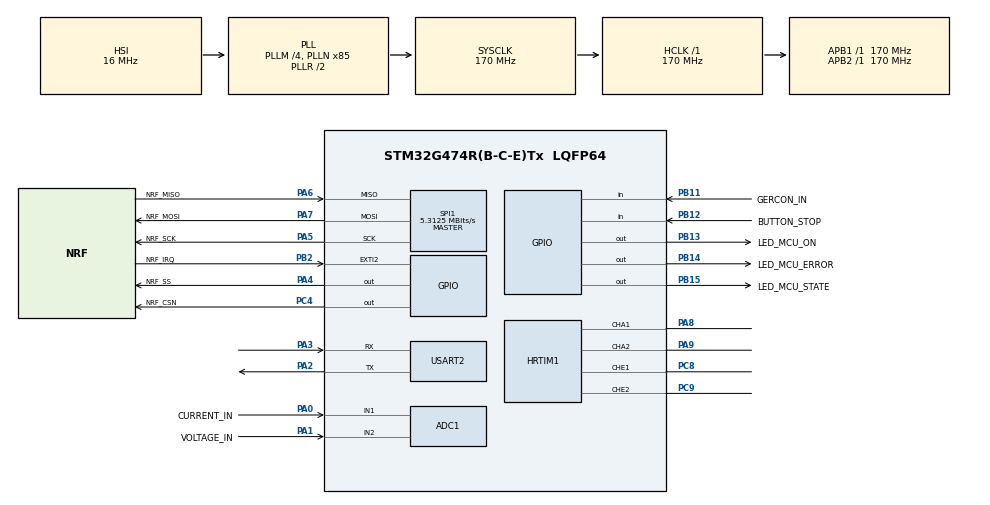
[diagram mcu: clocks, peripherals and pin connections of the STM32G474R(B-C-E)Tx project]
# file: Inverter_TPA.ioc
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ADC1.EnableInjectedConversion=ENABLE
ADC1.EnableRegularConversion=DISABLE
ADC1.InjNumberOfConversion=2
ADC1.InjectedChannel-1\#ChannelInjectedConversion=ADC_CHANNEL_1
ADC1.InjectedChannel-2\#ChannelInjectedConversion=ADC_CHANNEL_2
ADC1.InjectedOffsetNumber-1\#ChannelInjectedConversion=ADC_OFFSET_NONE
ADC1.InjectedOffsetNumber-2\#ChannelInjectedConversion=ADC_OFFSET_NONE
ADC1.InjectedRank-1\#ChannelInjectedConversion=1
ADC1.InjectedRank-2\#ChannelInjectedConversion=2
ADC1.InjectedSamplingTime-1\#ChannelInjectedConversion=ADC_SAMPLETIME_640CYCLES_5
ADC1.InjectedSamplingTime-2\#ChannelInjectedConversion=ADC_SAMPLETIME_640CYCLES_5
ADC1.Rank2_Channel=ADC_CHANNEL_2
ADC1.master=1
HRTIM1.CompareUnit1-MasterTimer=HRTIM_COMPAREUNIT_1
HRTIM1.CompareUnit1-Output_TA1TA2=HRTIM_COMPAREUNIT_1
HRTIM1.CompareUnit1-Output_TE1TE2=HRTIM_COMPAREUNIT_1
HRTIM1.CompareUnit2-MasterTimer=HRTIM_COMPAREUNIT_2
HRTIM1.CompareValue1-MasterTimer=0x0080
HRTIM1.CompareValue2-MasterTimer=0x3E80
HRTIM1.Configuration_TE=Waveform
HRTIM1.DeadTimeInsertion-Output_TA1TA2=HRTIM_TIMDEADTIMEINSERTION_ENABLED
HRTIM1.DeadTimeInsertion-Output_TE1TE2=HRTIM_TIMDEADTIMEINSERTION_ENABLED
HRTIM1.FallingSign-Output_TE1TE2=HRTIM_TIMDEADTIME_FALLINGSIGN_NEGATIVE
HRTIM1.FallingValue-Output_TA1TA2=0x04f
HRTIM1.FallingValue-Output_TE1TE2=0x04f
HRTIM1.InterleavedMode-Output_TA1TA2=HRTIM_INTERLEAVED_MODE_DISABLED
HRTIM1.InterleavedMode-Output_TE1TE2=HRTIM_INTERLEAVED_MODE_DISABLED
HRTIM1.ModeTimeBase-Output_TA1TA2=HRTIM_MODE_SINGLESHOT_RETRIGGERABLE
HRTIM1.ModeTimeBase-Output_TE1TE2=HRTIM_MODE_SINGLESHOT_RETRIGGERABLE
HRTIM1.NumberResetSource1-Output_TA1TA2=1
HRTIM1.NumberResetSource1-Output_TE1TE2=1
HRTIM1.NumberResetSource2_TE=0
HRTIM1.NumberResetTrigger-Output_TA1TA2=1
HRTIM1.NumberResetTrigger-Output_TE1TE2=1
HRTIM1.NumberSetSource1-Output_TA1TA2=1
HRTIM1.NumberSetSource1-Output_TE1TE2=1
HRTIM1.NumberSetSource2_TA=0
HRTIM1.NumberSetSource2_TE=0
HRTIM1.NumberUpdateTrigger-Output_TA1TA2=1
HRTIM1.NumberUpdateTrigger-Output_TE1TE2=1
HRTIM1.Periode_MASTER=0x675F
HRTIM1.Periode_TA=0x675F
HRTIM1.Periode_TE=0x7CFF
HRTIM1.Polarity1-Output_TE1TE2=HRTIM_OUTPUTPOLARITY_LOW
HRTIM1.Polarity2-Output_TE1TE2=HRTIM_OUTPUTPOLARITY_LOW
HRTIM1.PrescalerDead-Output_TA1TA2=HRTIM_TIMDEADTIME_PRESCALERRATIO_DIV1
HRTIM1.PrescalerDead-Output_TE1TE2=HRTIM_TIMDEADTIME_PRESCALERRATIO_DIV1
HRTIM1.PrescalerRatio_MASTER=HRTIM_PRESCALERRATIO_MUL16
HRTIM1.PrescalerRatio_TA=HRTIM_PRESCALERRATIO_MUL16
HRTIM1.PrescalerRatio_TE=HRTIM_PRESCALERRATIO_MUL16
HRTIM1.ResetOutput1_Source1-Output_TA1TA2=HRTIM_OUTPUTRESET_TIMCMP1
HRTIM1.ResetOutput1_Source1-Output_TE1TE2=HRTIM_OUTPUTRESET_TIMCMP1
HRTIM1.ResetTrigger1-Output_TA1TA2=HRTIM_TIMRESETTRIGGER_MASTER_CMP1
HRTIM1.ResetTrigger1-Output_TE1TE2=HRTIM_TIMRESETTRIGGER_MASTER_CMP2
HRTIM1.ResetUpdate-Output_TA1TA2=HRTIM_TIMUPDATEONRESET_DISABLED
HRTIM1.ResetUpdate-Output_TE1TE2=HRTIM_TIMUPDATEONRESET_DISABLED
HRTIM1.RisingSign-Output_TE1TE2=HRTIM_TIMDEADTIME_RISINGSIGN_NEGATIVE
HRTIM1.RisingValue-Output_TA1TA2=0x04f
HRTIM1.RisingValue-Output_TE1TE2=0x04f
HRTIM1.SetOutput1_Source1-Output_TA1TA2=HRTIM_OUTPUTSET_TIMPER
HRTIM1.SetOutput1_Source1-Output_TE1TE2=HRTIM_OUTPUTSET_TIMPER
HRTIM1.UpdateTrigger1-Output_TA1TA2=HRTIM_TIMUPDATETRIGGER_MASTER
HRTIM1.UpdateTrigger1-Output_TE1TE2=HRTIM_TIMUPDATETRIGGER_MASTER
Mcu.Family=STM32G4
Mcu.Name=STM32G474R(B-C-E)Tx
Mcu.Package=LQFP64
NUCLEO-G474RE.VCP=false
NVIC.EXTI2_IRQn=true\:1\:0\:true\:false\:true\:true\:true\:true
NVIC.PriorityGroup=NVIC_PRIORITYGROUP_4
PA0.GPIO_Label=CURRENT_IN
PA0.Mode=IN1-Single-Ended
PA0.Signal=ADC1_IN1
PA1.GPIO_Label=VOLTAGE_IN
PA1.Mode=IN2-Single-Ended
PA1.Signal=ADC1_IN2
PA13.GPIO_Label=T_SWDIO
PA13.Mode=Serial_Wire
PA13.Signal=SYS_JTMS-SWDIO
PA14.GPIO_Label=T_SWCLK
PA14.Mode=Serial_Wire
PA14.Signal=SYS_JTCK-SWCLK
PA2.Mode=Asynchronous
PA2.Signal=USART2_TX
PA3.Mode=Asynchronous
PA3.Signal=USART2_RX
PA4.GPIO_Label=NRF_SS
PA4.GPIO_PuPd=GPIO_NOPULL
PA4.Signal=GPIO_Output
PA5.GPIO_Label=NRF_SCK
PA5.Mode=Full_Duplex_Master
PA5.Signal=SPI1_SCK
PA6.GPIO_Label=NRF_MISO
PA6.Mode=Full_Duplex_Master
PA6.Signal=SPI1_MISO
PA7.GPIO_Label=NRF_MOSI
PA7.Mode=Full_Duplex_Master
PA7.Signal=SPI1_MOSI
PA8.Mode=Output_TA1TA2
PA8.Signal=HRTIM1_CHA1
PA9.Mode=Output_TA1TA2
PA9.Signal=HRTIM1_CHA2
PB11.GPIO_Label=GERCON_IN
PB11.GPIO_PuPd=GPIO_PULLUP
PB11.Signal=GPIO_Input
PB12.GPIO_Label=BUTTON_STOP
PB12.GPIO_PuPd=GPIO_PULLUP
PB12.Signal=GPIO_Input
PB13.GPIO_Label=LED_MCU_ON
PB13.Signal=GPIO_Output
PB14.GPIO_Label=LED_MCU_ERROR
PB14.Signal=GPIO_Output
PB15.GPIO_Label=LED_MCU_STATE
PB15.Signal=GPIO_Output
PB2.GPIO_Label=NRF_IRQ
PB2.GPIO_ModeDefaultEXTI=GPIO_MODE_IT_FALLING
PB2.Signal=GPXTI2
PB3.GPIO_Label=T_SWO
PB3.Signal=SYS_JTDO-SWO
PC14-OSC32_IN.GPIO_Label=RCC_OSC32_IN
PC14-OSC32_IN.Signal=RCC_OSC32_IN
PC15-OSC32_OUT.GPIO_Label=RCC_OSC32_OUT
PC15-OSC32_OUT.Signal=RCC_OSC32_OUT
PC4.GPIO_Label=NRF_CSN
PC4.GPIO_PuPd=GPIO_NOPULL
PC4.Signal=GPIO_Output
PC8.Mode=Output_TE1TE2
PC8.Signal=HRTIM1_CHE1
PC9.Mode=Output_TE1TE2
PC9.Signal=HRTIM1_CHE2
PF0-OSC_IN.GPIO_Label=RCC_OSC_IN
PF0-OSC_IN.Mode=HSE-External-Oscillator
PF0-OSC_IN.Signal=RCC_OSC_IN
PF1-OSC_OUT.GPIO_Label=RCC_OSC_OUT
PF1-OSC_OUT.Mode=HSE-External-Oscillator
PF1-OSC_OUT.Signal=RCC_OSC_OUT
ProjectManager.HeapSize=0x200
ProjectManager.StackSize=0x400
ProjectManager.TargetToolchain=STM32CubeIDE
RCC.ADC12Freq_Value=170000000
RCC.ADC345Freq_Value=170000000
RCC.AHBFreq_Value=170000000
RCC.APB1Freq_Value=170000000
RCC.APB1TimCLKDivider=1
RCC.APB1TimFreq_Value=170000000
RCC.APB2Freq_Value=170000000
RCC.APB2TimFreq_Value=170000000
RCC.CortexFreq_Value=170000000
RCC.EXTERNAL_CLOCK_VALUE=12288000
RCC.HCLKFreq_Value=170000000
RCC.HSE_VALUE=24000000
RCC.HSI48_VALUE=48000000
RCC.HSI_VALUE=16000000
RCC.LSE_VALUE=32768
RCC.PLLM=RCC_PLLM_DIV4
RCC.PLLN=85
RCC.RTCClockSelection=RCC_RTCCLKSOURCE_LSE
RCC.SYSCLKFreq_VALUE=170000000
RCC.SYSCLKSource=RCC_SYSCLKSOURCE_PLLCLK
RCC.USBFreq_Value=170000000
RCC.VCOOutputFreq_Value=340000000
SPI1.BaudRatePrescaler=SPI_BAUDRATEPRESCALER_32
SPI1.CalculateBaudRate=5.3125 MBits/s
SPI1.DataSize=SPI_DATASIZE_8BIT
SPI1.Direction=SPI_DIRECTION_2LINES
SPI1.FirstBit=SPI_FIRSTBIT_MSB
SPI1.Mode=SPI_MODE_MASTER
SPI1.VirtualType=VM_MASTER
USART2.VirtualMode-Asynchronous=VM_ASYNC
VP_HRTIM1_VS_hrtimMasterTimerNoOutput.Mode=MasterTimer
VP_NUCLEO-G474RE_VS_BSP_COMMON.Mode=COMMON
VP_SYS_VS_DBSignals.Mode=DisableDeadBatterySignals
board=NUCLEO-G474RE

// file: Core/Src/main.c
/* USER CODE BEGIN Header */
/**
 ******************************************************************************
 * @file           : main.c
 * @brief          : Main program body
 ******************************************************************************
 * @attention
 *
 * Copyright (c) 2025 STMicroelectronics.
 * All rights reserved.
 *
 * This software is licensed under terms that can be found in the LICENSE file
 * in the root directory of this software component.
 * If no LICENSE file comes with this software, it is provided AS-IS.
 *
 ******************************************************************************
 */
/* USER CODE END Header */
#include "main.h"

/* USER CODE BEGIN Includes */
#include <string.h>
#include <stdbool.h>
#include "stm32g474xx.h"
#include "stm32g4xx_hal.h"
#include "Drivers/myGPIO.h"
#include "Drivers/myVoltageRead.h"
#include "Drivers/ACS712.h"
#include "Drivers/myNRF.h"

/* USER CODE END Includes */

/* USER CODE BEGIN PTD */

typedef struct DATA {
	uint32_t I_out_int;
	uint32_t V_out_int;
} data_t;

typedef struct MESSAGE {
	uint32_t id;
	uint32_t status;
	data_t data;

} message_t;

typedef enum TRANSMITER_STATUS {
	CHARGING, // заряжается
	SEARCHING, // в поиске зарядной станции
	CHARGED,   // заряжен
	OUTOFRANGE, // выход за границы диапазона нормального заряда
} Transmiter_status_e;

typedef enum TESTING_STATUS {
	NOT_AVAIL, // дрон не доступен
	TESTING, // производится тестирование
	AVAIL, // дрон доступен
} Testing_status_e;

/* USER CODE END PTD */

/* USER CODE BEGIN PD */

/* Конфигурационные параметры ****************************************************************/

#define FILTER_SIZE 10 // Объем накапливаемых значений зарядного тока в алгоритме фильтрации
/********************************************************************************************/
#define period_WAIT 0x66A0
#define period_CHRG 0x66C0

/* [A] */
#define MAX_CURRENT 75.0f // Макисмальный допустимый ток в нагрузке
#define MIN_CURRENT 1.0f  // Минимальный допустимый ток в нагрузке
#define TARGET_CURRENT 10.0f // Целевое значение тока в нагрузке (для LB было 5.0f)

/* [B] */
#define MAX_CHARGE 35.0f // Макисмальное допустимое напряжение на нагрузке
#define MIN_CHARGE 15.0f  // Минимальное допустимое напряжение на нагрузке

#define VOLTAGE_SCALE 0.0855f // Коэфициент напряжения АЦП преобразования в вольты
#define CURRENT_SCALE 0.05f // [мA/В] Коэффициент преобразования в амперы

#define adcToVConstant  330 // Коэффициент преобразования значения АЦП в напряжение

/* [Bт] */
#define MAX_STATION_POWER 1500 // Максимальная допустимая потребляемая мощность станции
#define MAX_COPTER_POWER 1000 // Максимальная допустимая мощность коптера

// пределы срабатывания фильтра
#define FILTER_INT_CURRENT_THRESHOLD 200
#define FILTER_INT_VOLTAGE_THRESHOLD 200

#define PID_TYPE Output_Current
// Сигнальные задержки
#define sLongDelay 3000
#define sShortDelay 1000

// пареметры тестирования наличия коптера
#define copterTestDelay 2000
/* USER CODE END PD */

ADC_HandleTypeDef hadc1;

HRTIM_HandleTypeDef hhrtim1;

SPI_HandleTypeDef hspi1;

UART_HandleTypeDef huart2;

/* USER CODE BEGIN PV */
// Переменные для таймеров инвертера
uint16_t shift = 0;
uint16_t shift_normal = 0x0080;
uint16_t min_shift = 0x0080;

uint32_t operation_frequency = 120e3; // рабочая частота
uint32_t shift_percent = 0; //сдвиг плечей в процентах

uint32_t clock_frequency = 170e6*16;
uint32_t operation_frequency_hex = 100e3;
uint32_t shift_hex = 0;

// Переменные для ПИД контроллера
float input = 0.0;  // PID constants
PID_t coeffs;
float previousError = 0.0f;   // Previous error for derivative term
float integral = 0.0f;        // Integral term
float P = 0.0f;
float I = 0.0f;
float D = 0.0f;
float error = 0.0f;
float ref = 5.0f;
float output = 0.0f;

// Переменные для обработки принятых пакетов данных

message_t message = {
		.id = 0,
		.status = SEARCHING,
		.data.V_out_int = 0,
		.data.I_out_int = 0
};

volatile uint32_t copter_id = 0;
volatile uint32_t testingStatus = NOT_AVAIL;

// Физические измерения
volatile float copter_voltage = 0.0f;
volatile float copter_current = 0.0f;
volatile float copter_power = 0.0f;
float station_current = 0.0f;
float station_voltage = 0.0f;
float station_power = 0.0f;

// Переменные для фильтрации
volatile uint32_t receivedCurrents[FILTER_SIZE] = { 0 };
volatile uint32_t receivedVoltages[FILTER_SIZE] = { 0 };

// Переменные для коммуникации по NRF

const uint32_t pipe = 1024;  // адрес рабочей трубы;

/* USER CODE END PV */

void SystemClock_Config(void);
static void MX_GPIO_Init(void);
static void MX_SPI1_Init(void);
static void MX_ADC1_Init(void);
static void MX_HRTIM1_Init(void);
static void MX_USART2_UART_Init(void);
/* USER CODE BEGIN PFP */
/*-------------- Функция логирования в uart--------------*/
int __io_putchar(int ch) {
	HAL_UART_Transmit(&huart2, (uint8_t*) &ch, 1, 0xFFFF);
}

/*-------------- Функция сдвига массива--------------*/
void arrayShift(volatile uint32_t *arr, int arraySize, int elementSize) {
	int size = (int) (arraySize / elementSize);
	for (int f = size - 1; f > 0; f--) {
		*(arr + f) = *(arr + (f - 1));
	}
}
/*-------------- Функция итеративной фильтрации принятого значения зарядного тока --------------*/
void Filter() {
	uint32_t sumI = 0;
	uint32_t cntI = 0;
	uint32_t sumV = 0;
	uint32_t cntV = 0;

	for (int i = 0; i < FILTER_SIZE; i++) {
		if (receivedCurrents[i] > FILTER_INT_CURRENT_THRESHOLD) {
			sumI += receivedCurrents[i];
			cntI++;
		}

		if (receivedVoltages[i] > FILTER_INT_VOLTAGE_THRESHOLD) {
			sumV += receivedVoltages[i];
			cntV++;
		}

	}

	if (cntV != 0) {
		copter_voltage = VOLTAGE_SCALE
				* (((sumV / cntV) * adcToVConstant) / ADCMAXVAL);
	};
	if (cntI != 0) {
		copter_current = CURRENT_SCALE
				* (((sumI / cntI) * adcToVConstant) / ADCMAXVAL);
	};

	copter_power = copter_voltage * copter_current;
}

/*-------------- Функция остановки таймера --------------*/
void HRTIM_Stop(void) {
	HAL_HRTIM_WaveformCounterStop(&hhrtim1, HRTIM_TIMERID_MASTER);
	HAL_HRTIM_WaveformOutputStop(&hhrtim1, HRTIM_OUTPUT_TE1);
	HAL_HRTIM_WaveformOutputStop(&hhrtim1, HRTIM_OUTPUT_TE2);
	HAL_HRTIM_WaveformCounterStop(&hhrtim1, HRTIM_TIMERID_TIMER_E);

	HAL_HRTIM_WaveformOutputStop(&hhrtim1, HRTIM_OUTPUT_TA1);
	HAL_HRTIM_WaveformOutputStop(&hhrtim1, HRTIM_OUTPUT_TA2);
	HAL_HRTIM_WaveformCounterStop(&hhrtim1, HRTIM_TIMERID_TIMER_A);
}
/*-------------- Функция запуска таймера --------------*/
void HRTIM_Start(void) {
	HAL_HRTIM_WaveformCounterStart(&hhrtim1, HRTIM_TIMERID_MASTER);

	HAL_HRTIM_WaveformOutputStart(&hhrtim1, HRTIM_OUTPUT_TE1);
	HAL_HRTIM_WaveformOutputStart(&hhrtim1, HRTIM_OUTPUT_TE2);
	HAL_HRTIM_WaveformCounterStart(&hhrtim1, HRTIM_TIMERID_TIMER_E);

	HAL_HRTIM_WaveformOutputStart(&hhrtim1, HRTIM_OUTPUT_TA1);
	HAL_HRTIM_WaveformOutputStart(&hhrtim1, HRTIM_OUTPUT_TA2);
	HAL_HRTIM_WaveformCounterStart(&hhrtim1, HRTIM_TIMERID_TIMER_A);
}

/*-------------- Функция установления частоты управляющего инвертором сигнала --------------*/
void HRTIM_Set(uint32_t period, uint32_t shift) {
	__HAL_HRTIM_SETPERIOD(&hhrtim1, HRTIM_TIMERINDEX_MASTER, period);
	__HAL_HRTIM_SETPERIOD(&hhrtim1, HRTIM_TIMERINDEX_TIMER_A, period);
	__HAL_HRTIM_SETPERIOD(&hhrtim1, HRTIM_TIMERINDEX_TIMER_E, period);

	__HAL_HRTIM_SETCOMPARE(&hhrtim1, HRTIM_TIMERINDEX_MASTER,
			HRTIM_COMPAREUNIT_1, period / 2 - shift);
	__HAL_HRTIM_SETCOMPARE(&hhrtim1, HRTIM_TIMERINDEX_MASTER,
			HRTIM_COMPAREUNIT_2, period / 2);
	__HAL_HRTIM_SETCOMPARE(&hhrtim1, HRTIM_TIMERINDEX_TIMER_A,
			HRTIM_COMPAREUNIT_1, period / 2);
	__HAL_HRTIM_SETCOMPARE(&hhrtim1, HRTIM_TIMERINDEX_TIMER_E,
			HRTIM_COMPAREUNIT_1, period / 2);

	HRTIM_Start();
}

/*-------------- Функция тестирования наличия коптера --------------*/
void pingCopter(){
	HRTIM_Set(period_CHRG, (period_CHRG / 2 - 2 * 0x0080)/2);
	HAL_Delay(copterTestDelay);
	HRTIM_Stop();
	HAL_Delay(copterTestDelay/2);
}

// принимаем данные в прерывании на пине IRQ
void HAL_GPIO_EXTI_Callback(uint16_t GPIO_Pin) {
	if (GPIO_Pin == NRF_IRQ_Pin) {
		//printf("irq\n");

		NRF24_read(&message, sizeof(message));
		// отсеиваем мусор
		if (message.id != 0) {
			// если id бортового модуля не установлен, а также поле status сообщения равно SEARCHING
			//-- включаем режим проверки присутствия дрона
			if ((copter_id == 0) && (message.status == SEARCHING) && (testingStatus == NOT_AVAIL)) {
				testingStatus = TESTING;
			}

			// если тестирование удачно -- запоминаем айдишник
			if ((copter_id == 0) && (message.status == CHARGING) && (testingStatus == TESTING)) {
				testingStatus = AVAIL;
				copter_id = message.id;
			}
			// если же тестирование не удачно -- пропускаем айди
			if((testingStatus == TESTING) && (message.status == SEARCHING)){
				testingStatus = NOT_AVAIL;
			}

			// если сообщение пришло от выбранного модуля -- записываем ток и напряжение
					// в массив для фильтрации, а также сдвигаем массивы и фильтруем их
					if ((message.id == copter_id) && (message.status == CHARGING)) {
						// фильтрация
						receivedCurrents[0] = message.data.I_out_int;
						receivedVoltages[0] = message.data.V_out_int;
						arrayShift(receivedCurrents, sizeof(receivedCurrents),
								sizeof(receivedCurrents[0]));
						arrayShift(receivedVoltages, sizeof(receivedVoltages),
								sizeof(receivedVoltages[0]));
						Filter();
					}
					// если пришло сообщение от не выбранного модуля -- пропускаем его
		}

	}

}
/* USER CODE END PFP */

/* USER CODE BEGIN 0 */

/*-------------- ПИД контроллер --------------*/
void PID_Control(PID_Param_e param, PID_t *coeffs) {
	if (param == Input_Power) {
		coeffs->Kp = 5.0f;
		coeffs->Ki = 0.0f;
		coeffs->Kd = 20.0f;
		input = copter_power;
		ref = 165.0;
	} else if (param == Output_Current) {
		coeffs->Kp = 180.0f;
		coeffs->Ki = 0.0f;
		coeffs->Kd = 500.0f;
		input = copter_current;
		ref = TARGET_CURRENT;
	}
	// Вычисление ошибки
	error = ref - input;

	// Удержание ошибки в рамках значений, имеющих физический смысл

	// Пропорциональное слагаемое
	P = coeffs->Kp * error;

	// Интегральное слагаемое
	integral += error;

	I = coeffs->Ki * integral;

	// Дифференциальное слагаемое
	D = coeffs->Kd * (error - previousError);

	/* Выходное значение ПИД контроллера. Интегральное слагаемое не используется для избежания накопления ошибки */
	output = P + I + D;

	// Обновление значени ошибки
	previousError = error;

	// Корректировка фазового сдвига
	shift += (int16_t) output;

	// Удержание значение фазового сдвига в рамках значений, имеющих физический смысл
	if (shift > ((period_CHRG / 2) - 0x0080))
		shift = (period_CHRG / 2 - 2 * 0x0080);
	else if (shift < 0x0080)
		shift = 0;
	shift_normal = shift;

	// Установка скорректированного значений фазового сдвига
	if (shift_normal > 0) {
		HRTIM_Set(period_CHRG, shift_normal);
	}
}
/*-------------- Функция инициализации приемопередатчика --------------*/
void NRF24_Init(void) {
	NRF24_begin(hspi1);
	//nrf24_DebugUART_Init(huart2);
	NRF24_setDataRate(RF24_250KBPS);
	NRF24_setCRCLength(RF24_CRC_16);
	//NRF24_setPALevel(RF24_PA_0dB);
	NRF24_setChannel(0x6f);
	NRF24_setPayloadSize(sizeof(message));
	NRF24_setAutoAck(0);
	NRF24_powerUp();
	NRF24_openReadingPipe(0, pipe);
	//NRF24_startListening();

	// printRadioSettings();
}

/*-------------- Функция изменения фазового сдвига --------------*/
void Change_Shift(void) {
	// фазовый сдвиг устанавливается согласно прцедуре ПИД контроллера
	PID_Control(PID_TYPE, &coeffs);
	//__HAL_HRTIM_SETCOMPARE(&hhrtim1, HRTIM_TIMERINDEX_MASTER, HRTIM_COMPAREUNIT_1, (period_CHRG / 2 - 0x0080 - shift_normal));
}

//************************Секция функций световых сигналов ошибок***********

// Нажатие стоп-кнопки: один длинный, два коротких
void StopButtonSignal(void){
	GPIO_Set(LED_MCU_ERROR_GPIO_Port, LED_MCU_ERROR_Pin);
	HAL_Delay(sLongDelay);
	GPIO_Reset(LED_MCU_ERROR_GPIO_Port, LED_MCU_ERROR_Pin);
	HAL_Delay(sLongDelay);
	GPIO_Set(LED_MCU_ERROR_GPIO_Port, LED_MCU_ERROR_Pin);
	HAL_Delay(sShortDelay);
	GPIO_Reset(LED_MCU_ERROR_GPIO_Port, LED_MCU_ERROR_Pin);
	HAL_Delay(sShortDelay);
	GPIO_Set(LED_MCU_ERROR_GPIO_Port, LED_MCU_ERROR_Pin);
	HAL_Delay(sShortDelay);
	GPIO_Reset(LED_MCU_ERROR_GPIO_Port, LED_MCU_ERROR_Pin);
	HAL_Delay(sShortDelay);
}
// Превышение тока СТАНЦИИ: два длинных, один короткий
void StationOverCurrentSignal(void){
	GPIO_Set(LED_MCU_ERROR_GPIO_Port, LED_MCU_ERROR_Pin);
	HAL_Delay(sLongDelay);
	GPIO_Reset(LED_MCU_ERROR_GPIO_Port, LED_MCU_ERROR_Pin);
	HAL_Delay(sLongDelay);
	GPIO_Set(LED_MCU_ERROR_GPIO_Port, LED_MCU_ERROR_Pin);
	HAL_Delay(sLongDelay);
	GPIO_Reset(LED_MCU_ERROR_GPIO_Port, LED_MCU_ERROR_Pin);
	HAL_Delay(sLongDelay);
	GPIO_Set(LED_MCU_ERROR_GPIO_Port, LED_MCU_ERROR_Pin);
	HAL_Delay(sShortDelay);
	GPIO_Reset(LED_MCU_ERROR_GPIO_Port, LED_MCU_ERROR_Pin);
	HAL_Delay(sShortDelay);
}

// Превышение напряжения СТАНЦИИ: три длинных
void StationOverVoltageSignal(void){
	GPIO_Set(LED_MCU_ERROR_GPIO_Port, LED_MCU_ERROR_Pin);
	HAL_Delay(sLongDelay);
	GPIO_Reset(LED_MCU_ERROR_GPIO_Port, LED_MCU_ERROR_Pin);
	HAL_Delay(sLongDelay);
	GPIO_Set(LED_MCU_ERROR_GPIO_Port, LED_MCU_ERROR_Pin);
	HAL_Delay(sLongDelay);
	GPIO_Reset(LED_MCU_ERROR_GPIO_Port, LED_MCU_ERROR_Pin);
	HAL_Delay(sLongDelay);
	GPIO_Set(LED_MCU_ERROR_GPIO_Port, LED_MCU_ERROR_Pin);
	HAL_Delay(sLongDelay);
	GPIO_Reset(LED_MCU_ERROR_GPIO_Port, LED_MCU_ERROR_Pin);
	HAL_Delay(sLongDelay);
}
// Превышение мощности СТАНЦИИ: один короткий, два длинных
void StationOverPowerSignal(void){
	GPIO_Set(LED_MCU_ERROR_GPIO_Port, LED_MCU_ERROR_Pin);
	HAL_Delay(sShortDelay);
	GPIO_Reset(LED_MCU_ERROR_GPIO_Port, LED_MCU_ERROR_Pin);
	HAL_Delay(sShortDelay);
	GPIO_Set(LED_MCU_ERROR_GPIO_Port, LED_MCU_ERROR_Pin);
	HAL_Delay(sLongDelay);
	GPIO_Reset(LED_MCU_ERROR_GPIO_Port, LED_MCU_ERROR_Pin);
	HAL_Delay(sLongDelay);
	GPIO_Set(LED_MCU_ERROR_GPIO_Port, LED_MCU_ERROR_Pin);
	HAL_Delay(sLongDelay);
	GPIO_Reset(LED_MCU_ERROR_GPIO_Port, LED_MCU_ERROR_Pin);
	HAL_Delay(sLongDelay);
}

// Out of range тока КОПТЕРА: два коротких, один длинный
void CopterOutOfRangeCurrentSignal(void){
	GPIO_Set(LED_MCU_ERROR_GPIO_Port, LED_MCU_ERROR_Pin);
	HAL_Delay(sShortDelay);
	GPIO_Reset(LED_MCU_ERROR_GPIO_Port, LED_MCU_ERROR_Pin);
	HAL_Delay(sShortDelay);
	GPIO_Set(LED_MCU_ERROR_GPIO_Port, LED_MCU_ERROR_Pin);
	HAL_Delay(sLongDelay);
	GPIO_Reset(LED_MCU_ERROR_GPIO_Port, LED_MCU_ERROR_Pin);
	HAL_Delay(sShortDelay);
	GPIO_Set(LED_MCU_ERROR_GPIO_Port, LED_MCU_ERROR_Pin);
	HAL_Delay(sLongDelay);
	GPIO_Reset(LED_MCU_ERROR_GPIO_Port, LED_MCU_ERROR_Pin);
	HAL_Delay(sLongDelay);
}

// Out of range напряжения КОПТЕРА: один длинный, один короткий, один длинный
void CopterOutOfRangeVoltageSignal(void){
	GPIO_Set(LED_MCU_ERROR_GPIO_Port, LED_MCU_ERROR_Pin);
	HAL_Delay(sLongDelay);
	GPIO_Reset(LED_MCU_ERROR_GPIO_Port, LED_MCU_ERROR_Pin);
	HAL_Delay(sLongDelay);
	GPIO_Set(LED_MCU_ERROR_GPIO_Port, LED_MCU_ERROR_Pin);
	HAL_Delay(sShortDelay);
	GPIO_Reset(LED_MCU_ERROR_GPIO_Port, LED_MCU_ERROR_Pin);
	HAL_Delay(sShortDelay);
	GPIO_Set(LED_MCU_ERROR_GPIO_Port, LED_MCU_ERROR_Pin);
	HAL_Delay(sLongDelay);
	GPIO_Reset(LED_MCU_ERROR_GPIO_Port, LED_MCU_ERROR_Pin);
	HAL_Delay(sLongDelay);
}

// OutOfRange мощности КОПТЕРА: три коротких
void CopterOutOfRangePowerSignal(void){
	GPIO_Set(LED_MCU_ERROR_GPIO_Port, LED_MCU_ERROR_Pin);
	HAL_Delay(sShortDelay);
	GPIO_Reset(LED_MCU_ERROR_GPIO_Port, LED_MCU_ERROR_Pin);
	HAL_Delay(sShortDelay);
	GPIO_Set(LED_MCU_ERROR_GPIO_Port, LED_MCU_ERROR_Pin);
	HAL_Delay(sShortDelay);
	GPIO_Reset(LED_MCU_ERROR_GPIO_Port, LED_MCU_ERROR_Pin);
	HAL_Delay(sShortDelay);
	GPIO_Set(LED_MCU_ERROR_GPIO_Port, LED_MCU_ERROR_Pin);
	HAL_Delay(sShortDelay);
	GPIO_Reset(LED_MCU_ERROR_GPIO_Port, LED_MCU_ERROR_Pin);
	HAL_Delay(sShortDelay);
}

//************************Секция функций световых сигналов нормальной работы***********
// заряжается -- моргает раз в полсекунды
void ChargeSignal(){
	GPIO_Set(LED_MCU_STATE_GPIO_Port, LED_MCU_STATE_Pin);
	HAL_Delay(250);
	GPIO_Reset(LED_MCU_STATE_GPIO_Port, LED_MCU_STATE_Pin);
	HAL_Delay(250);
}
// заряжен -- горит непрерывно
void ChargedSignal(){
	GPIO_Set(LED_MCU_STATE_GPIO_Port, LED_MCU_STATE_Pin);
	HAL_Delay(250);
}
/* USER CODE END 0 */

int main(void)
{

  /* MCU Configuration--------------------------------------------------------*/

  /* Reset of all peripherals, Initializes the Flash interface and the Systick. */
  HAL_Init();

  /* Configure the system clock */
  SystemClock_Config();

  /* Initialize all configured peripherals */
  MX_GPIO_Init();
  MX_SPI1_Init();
  MX_ADC1_Init();
  MX_HRTIM1_Init();
  MX_USART2_UART_Init();
  /* USER CODE BEGIN 2 */
	GPIO_Set(LED_MCU_ON_GPIO_Port, LED_MCU_ON_Pin);
	printf("HAL is inited. Init NRF...");

	/*-------------- Инициализация приемопередатчика --------------*/
	DelayMicro(5000);
	NRF24_Init();
	HAL_Delay(1000);
	printf("Done!\r\n");

	printf("m size: %i, m t size: %i\r\n", sizeof(message), sizeof(message_t));

  /* USER CODE END 2 */

  /* Infinite loop */
  /* USER CODE BEGIN WHILE */
	printf("Main loop start\r\n");
	// Основной цикл программы
	while (1) {
		// секция БЕЗ прерываний для считывания показаний датчиками станции
		__disable_irq();

		shift_percent = (uint16_t)(shift_normal/((period_CHRG / 2) - 0x0080));
		operation_frequency = 1/period_CHRG;
		operation_frequency_hex = clock_frequency/operation_frequency;
		shift_hex = operation_frequency_hex*shift_percent/200;

		// Считывание тока и напряжения зарядной станции
		station_current = ACS712_ReadCurrentDC(&hadc1);
		station_voltage = myVoltageRead(&hadc1);

		station_power = station_current*station_voltage;

		int buttonStopState = pinReadDebounce(BUTTON_STOP_GPIO_Port,
				                              BUTTON_STOP_Pin, IS_BUTTON_PULLED_UP);
		int gerconState = pinReadDebounce(GERCON_IN_GPIO_Port,
				                          GERCON_IN_Pin, IS_BUTTON_PULLED_UP);

		__enable_irq();
		// Проверка на заданные диапазоны тока, напряжения или мощности зарядной станции
		// Если есть превышения -- останавливаем зарядку и дальше не идем
		if ((station_current > ACS712_20A_MAX_CURRENT) || (station_current < ACS712_20A_MIN_CURRENT)) {
			printf("Station current  out of range\r\n");
			printf("Station i: %.3f A\r\n", station_current);
			HRTIM_Stop();
			StationOverCurrentSignal();
			continue;
		} else {
			GPIO_Reset(LED_MCU_ERROR_GPIO_Port, LED_MCU_ERROR_Pin);
		}

		if ((station_voltage > MAX_VOLTAGE)	|| (station_voltage < MIN_VOLTAGE)) {
			printf("Station voltage out of range\r\n");
			printf("Station v: %.3f V\r\n", station_voltage);
			HRTIM_Stop();
			StationOverVoltageSignal();
			continue;
		} else {
			GPIO_Reset(LED_MCU_ERROR_GPIO_Port, LED_MCU_ERROR_Pin);
		}

		if (station_power > MAX_STATION_POWER) {
			printf("Station power out of range\r\n");
			printf("Station p: %.3f W\r\n", station_power);
			HRTIM_Stop();
			StationOverPowerSignal();
			continue;
		} else {
			GPIO_Reset(LED_MCU_ERROR_GPIO_Port, LED_MCU_ERROR_Pin);
		}

		// ждем секунду для считывания пакета данных с бортового модуля
		NRF24_startListening();
		HAL_Delay(1000);
//		NRF24_stopListening();

		NRF24_available(); // после обработки прерывания -- сбрасываем флаги

		// Вывод информации по датчику
		//ACS712_DebugPrintf(&hadc1);

		printf("======================\r\n");
		printf("Message id: %li\r\n", message.id);

		if (message.status == SEARCHING) {
			printf("Message status: SEARCHING\r\n");
		} else if (message.status == CHARGING) {
			printf("Message status: CHARGING\r\n");
		} else if (message.status == CHARGED) {
			printf("Message status: CHARGED\r\n");
		} else if (message.status == OUTOFRANGE) {
			printf("Message status: OUTOFRANGE\r\n");
		}
		printf("======================\r\n");

		// при нажатии на кнопку останавливаем таймер
		// при отжатии -- включаем
		if (buttonStopState) {
			HRTIM_Stop();
			StopButtonSignal();
			continue;
		}

		if (gerconState) {
			// Если геркон нажат -- смотрим, нужна ли проверка, если нужна -- запускаем
			printf("Gercon is pressed\r\n");

			switch (testingStatus){

			case NOT_AVAIL:
				printf("Copter not available\r\n");
				break;

			case TESTING:
				printf("Copter with id: %li available is testing.\r\n", message.id);
				pingCopter();
				break;

			case AVAIL:
				printf("Copter with id %li available\r\n", copter_id);
				printf("Copter i: %0.3f A\r\n", copter_current);
				for (int i = 0; i < FILTER_SIZE; i++) {
					printf("%li ", receivedCurrents[i]);
				};
				printf("\r\n");
				printf("Copter v: %0.3f V\r\n", copter_voltage);
				for (int i = 0; i < FILTER_SIZE; i++) {
					printf("%li ", receivedVoltages[i]);
				};
				printf("\r\n");
				printf("Copter p: %0.3f W\r\n", copter_power);
				printf("======================\r\n");
				printf("Stop button state: %i\r\n", buttonStopState);
				printf("======================\r\n");
				printf("Station v: %.3f V\r\n", station_voltage);
				printf("Station i: %.3f A\r\n", station_current);
				printf("Station p: %.3f W\r\n", station_power);
				printf("======================\r\n");

				// Проверка на заданные диапазоны тока и напряжения коптера
				if ((copter_current > MAX_CURRENT) || (copter_current < MIN_CURRENT)) {
					//state = WAIT;
					printf("Copter current are out of range, wait...\r\n");
					HRTIM_Set(period_WAIT, 0x0080);
					CopterOutOfRangeCurrentSignal();
					continue;
					//printf("\n\tDone");
				}

				if ((copter_voltage > MAX_CHARGE) || (copter_voltage < MIN_CHARGE)) {
					//state = WAIT;
					printf("\n\tCopter voltage are out of range, wait...\r\n");
					HRTIM_Set(period_WAIT, 0x0080);
					CopterOutOfRangeVoltageSignal();
					continue;
					//printf("\n\tDone");
				}

				if (copter_power > MAX_COPTER_POWER){
					printf("\n\tCopter power are out of range, wait...\r\n");
					HRTIM_Set(period_WAIT, 0x0080);
					CopterOutOfRangePowerSignal();
					continue;

				}

				// проверка статуса коптера, если статус в сообщении равен OUTOFRANGE
				// выключаем сигнал
				if (message.id == copter_id){
					switch(message.status){

					case OUTOFRANGE:
							HRTIM_Stop();
							printf("Copter params out of range");
					break;

					case CHARGING:
							printf("State: Charge \r\n");
							__disable_irq();
							Change_Shift();
							__enable_irq();
							ChargeSignal();
					     	// тут задержка нужна для правильного обновления значений в принятых массивах
							HAL_Delay(100);
					break;

					case CHARGED:
							printf("State: Charged \r\n");
							HRTIM_Stop();
							ChargedSignal();
					break;
					}
				}

				break;

			}

		} else {
			// если геркон не нажат -- обнуляем переменную-id
			copter_id = 0;
			testingStatus = NOT_AVAIL;
			// stop hrtim
			HRTIM_Stop();
			for (int i = 0; i < FILTER_SIZE; i++) {
				receivedCurrents[i] = 0;
				receivedVoltages[i] = 0;
			};

		}
		// задержка между итерациями
		//HAL_Delay(500);

    /* USER CODE END WHILE */

	}
}

void SystemClock_Config(void)
{
  RCC_OscInitTypeDef RCC_OscInitStruct = {0};
  RCC_ClkInitTypeDef RCC_ClkInitStruct = {0};

  /** Configure the main internal regulator output voltage
  */
  HAL_PWREx_ControlVoltageScaling(PWR_REGULATOR_VOLTAGE_SCALE1_BOOST);

  /** Initializes the RCC Oscillators according to the specified parameters
  * in the RCC_OscInitTypeDef structure.
  */
  RCC_OscInitStruct.OscillatorType = RCC_OSCILLATORTYPE_HSI;
  RCC_OscInitStruct.HSIState = RCC_HSI_ON;
  RCC_OscInitStruct.HSICalibrationValue = RCC_HSICALIBRATION_DEFAULT;
  RCC_OscInitStruct.PLL.PLLState = RCC_PLL_ON;
  RCC_OscInitStruct.PLL.PLLSource = RCC_PLLSOURCE_HSI;
  RCC_OscInitStruct.PLL.PLLM = RCC_PLLM_DIV4;
  RCC_OscInitStruct.PLL.PLLN = 85;
  RCC_OscInitStruct.PLL.PLLP = RCC_PLLP_DIV2;
  RCC_OscInitStruct.PLL.PLLQ = RCC_PLLQ_DIV2;
  RCC_OscInitStruct.PLL.PLLR = RCC_PLLR_DIV2;
  if (HAL_RCC_OscConfig(&RCC_OscInitStruct) != HAL_OK)
  {
    Error_Handler();
  }

  /** Initializes the CPU, AHB and APB buses clocks
  */
  RCC_ClkInitStruct.ClockType = RCC_CLOCKTYPE_HCLK|RCC_CLOCKTYPE_SYSCLK
                              |RCC_CLOCKTYPE_PCLK1|RCC_CLOCKTYPE_PCLK2;
  RCC_ClkInitStruct.SYSCLKSource = RCC_SYSCLKSOURCE_PLLCLK;
  RCC_ClkInitStruct.AHBCLKDivider = RCC_SYSCLK_DIV1;
  RCC_ClkInitStruct.APB1CLKDivider = RCC_HCLK_DIV1;
  RCC_ClkInitStruct.APB2CLKDivider = RCC_HCLK_DIV1;

  if (HAL_RCC_ClockConfig(&RCC_ClkInitStruct, FLASH_LATENCY_4) != HAL_OK)
  {
    Error_Handler();
  }
}

static void MX_ADC1_Init(void)
{

  ADC_MultiModeTypeDef multimode = {0};
  ADC_InjectionConfTypeDef sConfigInjected = {0};

  /** Common config
  */
  hadc1.Instance = ADC1;
  hadc1.Init.ClockPrescaler = ADC_CLOCK_SYNC_PCLK_DIV4;
  hadc1.Init.Resolution = ADC_RESOLUTION_12B;
  hadc1.Init.DataAlign = ADC_DATAALIGN_RIGHT;
  hadc1.Init.GainCompensation = 0;
  hadc1.Init.ScanConvMode = ADC_SCAN_ENABLE;
  hadc1.Init.EOCSelection = ADC_EOC_SINGLE_CONV;
  hadc1.Init.LowPowerAutoWait = DISABLE;
  hadc1.Init.ContinuousConvMode = DISABLE;
  hadc1.Init.NbrOfConversion = 1;
  hadc1.Init.DiscontinuousConvMode = DISABLE;
  hadc1.Init.DMAContinuousRequests = DISABLE;
  hadc1.Init.Overrun = ADC_OVR_DATA_PRESERVED;
  hadc1.Init.OversamplingMode = DISABLE;
  if (HAL_ADC_Init(&hadc1) != HAL_OK)
  {
    Error_Handler();
  }

  /** Configure the ADC multi-mode
  */
  multimode.Mode = ADC_MODE_INDEPENDENT;
  if (HAL_ADCEx_MultiModeConfigChannel(&hadc1, &multimode) != HAL_OK)
  {
    Error_Handler();
  }

  /** Configure Injected Channel
  */
  sConfigInjected.InjectedChannel = ADC_CHANNEL_1;
  sConfigInjected.InjectedRank = ADC_INJECTED_RANK_1;
  sConfigInjected.InjectedSamplingTime = ADC_SAMPLETIME_640CYCLES_5;
  sConfigInjected.InjectedSingleDiff = ADC_SINGLE_ENDED;
  sConfigInjected.InjectedOffsetNumber = ADC_OFFSET_NONE;
  sConfigInjected.InjectedOffset = 0;
  sConfigInjected.InjectedNbrOfConversion = 2;
  sConfigInjected.InjectedDiscontinuousConvMode = DISABLE;
  sConfigInjected.AutoInjectedConv = DISABLE;
  sConfigInjected.QueueInjectedContext = DISABLE;
  sConfigInjected.ExternalTrigInjecConv = ADC_INJECTED_SOFTWARE_START;
  sConfigInjected.ExternalTrigInjecConvEdge = ADC_EXTERNALTRIGINJECCONV_EDGE_NONE;
  sConfigInjected.InjecOversamplingMode = DISABLE;
  if (HAL_ADCEx_InjectedConfigChannel(&hadc1, &sConfigInjected) != HAL_OK)
  {
    Error_Handler();
  }

  /** Configure Injected Channel
  */
  sConfigInjected.InjectedChannel = ADC_CHANNEL_2;
  sConfigInjected.InjectedRank = ADC_INJECTED_RANK_2;
  if (HAL_ADCEx_InjectedConfigChannel(&hadc1, &sConfigInjected) != HAL_OK)
  {
    Error_Handler();
  }

}

static void MX_HRTIM1_Init(void)
{

  HRTIM_TimeBaseCfgTypeDef pTimeBaseCfg = {0};
  HRTIM_TimerCfgTypeDef pTimerCfg = {0};
  HRTIM_CompareCfgTypeDef pCompareCfg = {0};
  HRTIM_TimerCtlTypeDef pTimerCtl = {0};
  HRTIM_DeadTimeCfgTypeDef pDeadTimeCfg = {0};
  HRTIM_OutputCfgTypeDef pOutputCfg = {0};

  hhrtim1.Instance = HRTIM1;
  hhrtim1.Init.HRTIMInterruptResquests = HRTIM_IT_NONE;
  hhrtim1.Init.SyncOptions = HRTIM_SYNCOPTION_NONE;
  if (HAL_HRTIM_Init(&hhrtim1) != HAL_OK)
  {
    Error_Handler();
  }
  if (HAL_HRTIM_DLLCalibrationStart(&hhrtim1, HRTIM_CALIBRATIONRATE_3) != HAL_OK)
  {
    Error_Handler();
  }
  if (HAL_HRTIM_PollForDLLCalibration(&hhrtim1, 10) != HAL_OK)
  {
    Error_Handler();
  }
  pTimeBaseCfg.Period = 0x675F;
  pTimeBaseCfg.RepetitionCounter = 0x00;
  pTimeBaseCfg.PrescalerRatio = HRTIM_PRESCALERRATIO_MUL16;
  pTimeBaseCfg.Mode = HRTIM_MODE_CONTINUOUS;
  if (HAL_HRTIM_TimeBaseConfig(&hhrtim1, HRTIM_TIMERINDEX_MASTER, &pTimeBaseCfg) != HAL_OK)
  {
    Error_Handler();
  }
  pTimerCfg.InterruptRequests = HRTIM_MASTER_IT_NONE;
  pTimerCfg.DMARequests = HRTIM_MASTER_DMA_NONE;
  pTimerCfg.DMASrcAddress = 0x0000;
  pTimerCfg.DMADstAddress = 0x0000;
  pTimerCfg.DMASize = 0x1;
  pTimerCfg.HalfModeEnable = HRTIM_HALFMODE_DISABLED;
  pTimerCfg.InterleavedMode = HRTIM_INTERLEAVED_MODE_DISABLED;
  pTimerCfg.StartOnSync = HRTIM_SYNCSTART_DISABLED;
  pTimerCfg.ResetOnSync = HRTIM_SYNCRESET_DISABLED;
  pTimerCfg.DACSynchro = HRTIM_DACSYNC_NONE;
  pTimerCfg.PreloadEnable = HRTIM_PRELOAD_DISABLED;
  pTimerCfg.UpdateGating = HRTIM_UPDATEGATING_INDEPENDENT;
  pTimerCfg.BurstMode = HRTIM_TIMERBURSTMODE_MAINTAINCLOCK;
  pTimerCfg.RepetitionUpdate = HRTIM_UPDATEONREPETITION_DISABLED;
  pTimerCfg.ReSyncUpdate = HRTIM_TIMERESYNC_UPDATE_UNCONDITIONAL;
  if (HAL_HRTIM_WaveformTimerConfig(&hhrtim1, HRTIM_TIMERINDEX_MASTER, &pTimerCfg) != HAL_OK)
  {
    Error_Handler();
  }
  pCompareCfg.CompareValue = 0x0080;
  if (HAL_HRTIM_WaveformCompareConfig(&hhrtim1, HRTIM_TIMERINDEX_MASTER, HRTIM_COMPAREUNIT_1, &pCompareCfg) != HAL_OK)
  {
    Error_Handler();
  }
  pCompareCfg.CompareValue = 0x3E80;
  if (HAL_HRTIM_WaveformCompareConfig(&hhrtim1, HRTIM_TIMERINDEX_MASTER, HRTIM_COMPAREUNIT_2, &pCompareCfg) != HAL_OK)
  {
    Error_Handler();
  }
  pTimeBaseCfg.Mode = HRTIM_MODE_SINGLESHOT_RETRIGGERABLE;
  if (HAL_HRTIM_TimeBaseConfig(&hhrtim1, HRTIM_TIMERINDEX_TIMER_A, &pTimeBaseCfg) != HAL_OK)
  {
    Error_Handler();
  }
  pTimerCtl.UpDownMode = HRTIM_TIMERUPDOWNMODE_UP;
  pTimerCtl.GreaterCMP1 = HRTIM_TIMERGTCMP1_EQUAL;
  pTimerCtl.DualChannelDacEnable = HRTIM_TIMER_DCDE_DISABLED;
  if (HAL_HRTIM_WaveformTimerControl(&hhrtim1, HRTIM_TIMERINDEX_TIMER_A, &pTimerCtl) != HAL_OK)
  {
    Error_Handler();
  }
  pTimerCfg.InterruptRequests = HRTIM_TIM_IT_NONE;
  pTimerCfg.DMARequests = HRTIM_TIM_DMA_NONE;
  pTimerCfg.PushPull = HRTIM_TIMPUSHPULLMODE_DISABLED;
  pTimerCfg.FaultEnable = HRTIM_TIMFAULTENABLE_NONE;
  pTimerCfg.FaultLock = HRTIM_TIMFAULTLOCK_READWRITE;
  pTimerCfg.DeadTimeInsertion = HRTIM_TIMDEADTIMEINSERTION_ENABLED;
  pTimerCfg.DelayedProtectionMode = HRTIM_TIMER_A_B_C_DELAYEDPROTECTION_DISABLED;
  pTimerCfg.UpdateTrigger = HRTIM_TIMUPDATETRIGGER_MASTER;
  pTimerCfg.ResetTrigger = HRTIM_TIMRESETTRIGGER_MASTER_CMP1;
  pTimerCfg.ResetUpdate = HRTIM_TIMUPDATEONRESET_DISABLED;
  if (HAL_HRTIM_WaveformTimerConfig(&hhrtim1, HRTIM_TIMERINDEX_TIMER_A, &pTimerCfg) != HAL_OK)
  {
    Error_Handler();
  }
  pTimerCfg.DelayedProtectionMode = HRTIM_TIMER_D_E_DELAYEDPROTECTION_DISABLED;
  pTimerCfg.ResetTrigger = HRTIM_TIMRESETTRIGGER_MASTER_CMP2;
  if (HAL_HRTIM_WaveformTimerConfig(&hhrtim1, HRTIM_TIMERINDEX_TIMER_E, &pTimerCfg) != HAL_OK)
  {
    Error_Handler();
  }
  pCompareCfg.CompareValue = 0xFFEF;
  if (HAL_HRTIM_WaveformCompareConfig(&hhrtim1, HRTIM_TIMERINDEX_TIMER_A, HRTIM_COMPAREUNIT_1, &pCompareCfg) != HAL_OK)
  {
    Error_Handler();
  }
  pDeadTimeCfg.Prescaler = HRTIM_TIMDEADTIME_PRESCALERRATIO_DIV1;
  pDeadTimeCfg.RisingValue = 0x04f;
  pDeadTimeCfg.RisingSign = HRTIM_TIMDEADTIME_RISINGSIGN_POSITIVE;
  pDeadTimeCfg.RisingLock = HRTIM_TIMDEADTIME_RISINGLOCK_WRITE;
  pDeadTimeCfg.RisingSignLock = HRTIM_TIMDEADTIME_RISINGSIGNLOCK_WRITE;
  pDeadTimeCfg.FallingValue = 0x04f;
  pDeadTimeCfg.FallingSign = HRTIM_TIMDEADTIME_FALLINGSIGN_POSITIVE;
  pDeadTimeCfg.FallingLock = HRTIM_TIMDEADTIME_FALLINGLOCK_WRITE;
  pDeadTimeCfg.FallingSignLock = HRTIM_TIMDEADTIME_FALLINGSIGNLOCK_WRITE;
  if (HAL_HRTIM_DeadTimeConfig(&hhrtim1, HRTIM_TIMERINDEX_TIMER_A, &pDeadTimeCfg) != HAL_OK)
  {
    Error_Handler();
  }
  pDeadTimeCfg.RisingSign = HRTIM_TIMDEADTIME_RISINGSIGN_NEGATIVE;
  pDeadTimeCfg.FallingSign = HRTIM_TIMDEADTIME_FALLINGSIGN_NEGATIVE;
  if (HAL_HRTIM_DeadTimeConfig(&hhrtim1, HRTIM_TIMERINDEX_TIMER_E, &pDeadTimeCfg) != HAL_OK)
  {
    Error_Handler();
  }
  pOutputCfg.Polarity = HRTIM_OUTPUTPOLARITY_HIGH;
  pOutputCfg.SetSource = HRTIM_OUTPUTSET_TIMPER;
  pOutputCfg.ResetSource = HRTIM_OUTPUTRESET_TIMCMP1;
  pOutputCfg.IdleMode = HRTIM_OUTPUTIDLEMODE_NONE;
  pOutputCfg.IdleLevel = HRTIM_OUTPUTIDLELEVEL_INACTIVE;
  pOutputCfg.FaultLevel = HRTIM_OUTPUTFAULTLEVEL_NONE;
  pOutputCfg.ChopperModeEnable = HRTIM_OUTPUTCHOPPERMODE_DISABLED;
  pOutputCfg.BurstModeEntryDelayed = HRTIM_OUTPUTBURSTMODEENTRY_REGULAR;
  if (HAL_HRTIM_WaveformOutputConfig(&hhrtim1, HRTIM_TIMERINDEX_TIMER_A, HRTIM_OUTPUT_TA1, &pOutputCfg) != HAL_OK)
  {
    Error_Handler();
  }
  pOutputCfg.Polarity = HRTIM_OUTPUTPOLARITY_LOW;
  if (HAL_HRTIM_WaveformOutputConfig(&hhrtim1, HRTIM_TIMERINDEX_TIMER_E, HRTIM_OUTPUT_TE1, &pOutputCfg) != HAL_OK)
  {
    Error_Handler();
  }
  pOutputCfg.Polarity = HRTIM_OUTPUTPOLARITY_HIGH;
  pOutputCfg.SetSource = HRTIM_OUTPUTSET_NONE;
  pOutputCfg.ResetSource = HRTIM_OUTPUTRESET_NONE;
  if (HAL_HRTIM_WaveformOutputConfig(&hhrtim1, HRTIM_TIMERINDEX_TIMER_A, HRTIM_OUTPUT_TA2, &pOutputCfg) != HAL_OK)
  {
    Error_Handler();
  }
  pOutputCfg.Polarity = HRTIM_OUTPUTPOLARITY_LOW;
  if (HAL_HRTIM_WaveformOutputConfig(&hhrtim1, HRTIM_TIMERINDEX_TIMER_E, HRTIM_OUTPUT_TE2, &pOutputCfg) != HAL_OK)
  {
    Error_Handler();
  }
  pTimeBaseCfg.Period = 0x7CFF;
  if (HAL_HRTIM_TimeBaseConfig(&hhrtim1, HRTIM_TIMERINDEX_TIMER_E, &pTimeBaseCfg) != HAL_OK)
  {
    Error_Handler();
  }
  if (HAL_HRTIM_WaveformTimerControl(&hhrtim1, HRTIM_TIMERINDEX_TIMER_E, &pTimerCtl) != HAL_OK)
  {
    Error_Handler();
  }
  if (HAL_HRTIM_WaveformCompareConfig(&hhrtim1, HRTIM_TIMERINDEX_TIMER_E, HRTIM_COMPAREUNIT_1, &pCompareCfg) != HAL_OK)
  {
    Error_Handler();
  }
  HAL_HRTIM_MspPostInit(&hhrtim1);

}

static void MX_SPI1_Init(void)
{

  /* SPI1 parameter configuration*/
  hspi1.Instance = SPI1;
  hspi1.Init.Mode = SPI_MODE_MASTER;
  hspi1.Init.Direction = SPI_DIRECTION_2LINES;
  hspi1.Init.DataSize = SPI_DATASIZE_8BIT;
  hspi1.Init.CLKPolarity = SPI_POLARITY_LOW;
  hspi1.Init.CLKPhase = SPI_PHASE_1EDGE;
  hspi1.Init.NSS = SPI_NSS_SOFT;
  hspi1.Init.BaudRatePrescaler = SPI_BAUDRATEPRESCALER_32;
  hspi1.Init.FirstBit = SPI_FIRSTBIT_MSB;
  hspi1.Init.TIMode = SPI_TIMODE_DISABLE;
  hspi1.Init.CRCCalculation = SPI_CRCCALCULATION_DISABLE;
  hspi1.Init.CRCPolynomial = 7;
  hspi1.Init.CRCLength = SPI_CRC_LENGTH_DATASIZE;
  hspi1.Init.NSSPMode = SPI_NSS_PULSE_ENABLE;
  if (HAL_SPI_Init(&hspi1) != HAL_OK)
  {
    Error_Handler();
  }

}

static void MX_USART2_UART_Init(void)
{

  huart2.Instance = USART2;
  huart2.Init.BaudRate = 115200;
  huart2.Init.WordLength = UART_WORDLENGTH_8B;
  huart2.Init.StopBits = UART_STOPBITS_1;
  huart2.Init.Parity = UART_PARITY_NONE;
  huart2.Init.Mode = UART_MODE_TX_RX;
  huart2.Init.HwFlowCtl = UART_HWCONTROL_NONE;
  huart2.Init.OverSampling = UART_OVERSAMPLING_16;
  huart2.Init.OneBitSampling = UART_ONE_BIT_SAMPLE_DISABLE;
  huart2.Init.ClockPrescaler = UART_PRESCALER_DIV1;
  huart2.AdvancedInit.AdvFeatureInit = UART_ADVFEATURE_NO_INIT;
  if (HAL_UART_Init(&huart2) != HAL_OK)
  {
    Error_Handler();
  }
  if (HAL_UARTEx_SetTxFifoThreshold(&huart2, UART_TXFIFO_THRESHOLD_1_8) != HAL_OK)
  {
    Error_Handler();
  }
  if (HAL_UARTEx_SetRxFifoThreshold(&huart2, UART_RXFIFO_THRESHOLD_1_8) != HAL_OK)
  {
    Error_Handler();
  }
  if (HAL_UARTEx_DisableFifoMode(&huart2) != HAL_OK)
  {
    Error_Handler();
  }

}

static void MX_GPIO_Init(void)
{
  GPIO_InitTypeDef GPIO_InitStruct = {0};

  /* GPIO Ports Clock Enable */
  __HAL_RCC_GPIOC_CLK_ENABLE();
  __HAL_RCC_GPIOF_CLK_ENABLE();
  __HAL_RCC_GPIOA_CLK_ENABLE();
  __HAL_RCC_GPIOB_CLK_ENABLE();

  /*Configure GPIO pin Output Level */
  HAL_GPIO_WritePin(NRF_SS_GPIO_Port, NRF_SS_Pin, GPIO_PIN_RESET);

  /*Configure GPIO pin Output Level */
  HAL_GPIO_WritePin(NRF_CSN_GPIO_Port, NRF_CSN_Pin, GPIO_PIN_RESET);

  /*Configure GPIO pin Output Level */
  HAL_GPIO_WritePin(GPIOB, LED_MCU_ON_Pin|LED_MCU_ERROR_Pin|LED_MCU_STATE_Pin, GPIO_PIN_RESET);

  /*Configure GPIO pin : NRF_SS_Pin */
  GPIO_InitStruct.Pin = NRF_SS_Pin;
  GPIO_InitStruct.Mode = GPIO_MODE_OUTPUT_PP;
  GPIO_InitStruct.Pull = GPIO_NOPULL;
  GPIO_InitStruct.Speed = GPIO_SPEED_FREQ_LOW;
  HAL_GPIO_Init(NRF_SS_GPIO_Port, &GPIO_InitStruct);

  /*Configure GPIO pin : NRF_CSN_Pin */
  GPIO_InitStruct.Pin = NRF_CSN_Pin;
  GPIO_InitStruct.Mode = GPIO_MODE_OUTPUT_PP;
  GPIO_InitStruct.Pull = GPIO_NOPULL;
  GPIO_InitStruct.Speed = GPIO_SPEED_FREQ_LOW;
  HAL_GPIO_Init(NRF_CSN_GPIO_Port, &GPIO_InitStruct);

  /*Configure GPIO pin : NRF_IRQ_Pin */
  GPIO_InitStruct.Pin = NRF_IRQ_Pin;
  GPIO_InitStruct.Mode = GPIO_MODE_IT_FALLING;
  GPIO_InitStruct.Pull = GPIO_NOPULL;
  HAL_GPIO_Init(NRF_IRQ_GPIO_Port, &GPIO_InitStruct);

  /*Configure GPIO pins : GERCON_IN_Pin BUTTON_STOP_Pin */
  GPIO_InitStruct.Pin = GERCON_IN_Pin|BUTTON_STOP_Pin;
  GPIO_InitStruct.Mode = GPIO_MODE_INPUT;
  GPIO_InitStruct.Pull = GPIO_PULLUP;
  HAL_GPIO_Init(GPIOB, &GPIO_InitStruct);

  /*Configure GPIO pins : LED_MCU_ON_Pin LED_MCU_ERROR_Pin LED_MCU_STATE_Pin */
  GPIO_InitStruct.Pin = LED_MCU_ON_Pin|LED_MCU_ERROR_Pin|LED_MCU_STATE_Pin;
  GPIO_InitStruct.Mode = GPIO_MODE_OUTPUT_PP;
  GPIO_InitStruct.Pull = GPIO_NOPULL;
  GPIO_InitStruct.Speed = GPIO_SPEED_FREQ_LOW;
  HAL_GPIO_Init(GPIOB, &GPIO_InitStruct);

  /* EXTI interrupt init*/
  HAL_NVIC_SetPriority(EXTI2_IRQn, 1, 0);
  HAL_NVIC_EnableIRQ(EXTI2_IRQn);

}

void Error_Handler(void)
{
  /* USER CODE BEGIN Error_Handler_Debug */
	/* User can add his own implementation to report the HAL error return state */
	__disable_irq();
	GPIO_Set(LED_MCU_ERROR_GPIO_Port, LED_MCU_ERROR_Pin);
	while (1) {
	}
  /* USER CODE END Error_Handler_Debug */
}
